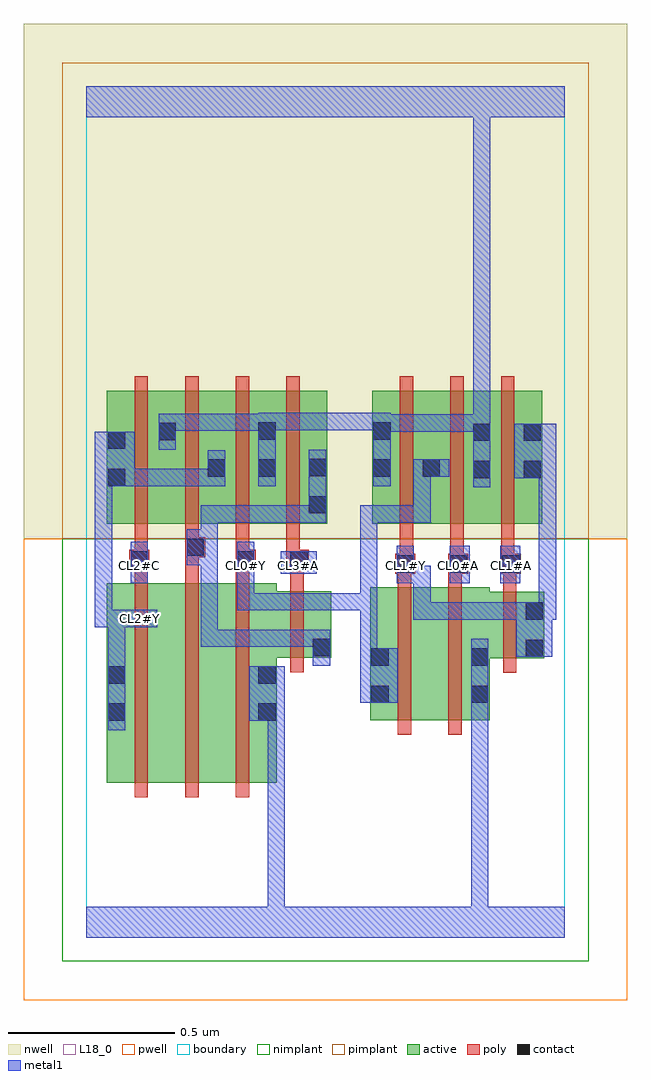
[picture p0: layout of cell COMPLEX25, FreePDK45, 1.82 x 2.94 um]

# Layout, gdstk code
import gdstk
lib = gdstk.Library(unit=1e-6, precision=1e-09)
def R(c, l, rs):  # rectangles x0, y0, x1, y1
    for r in rs: c.add(gdstk.rectangle(r[:2], r[2:], *l))
def A(c, l, x, y, w, h, nx, ny, dx, dy):  # array of equal rectangles
    R(c, l, [(x+i*dx, y+j*dy, x+i*dx+w, y+j*dy+h) for i in range(nx) for j in range(ny)])
active = (1, 0)
pwell = (2, 0)
nwell = (3, 0)
nimplant = (4, 0)
pimplant = (5, 0)
poly = (9, 0)
contact = (10, 0)
metal1 = (11, 0)
L18_0 = (18, 0)
boundary = (235, 0)

complex25 = lib.new_cell('COMPLEX25')
A(complex25, active, 0.362, 1.244, 0.06, 0.4, 3, 1, 0.152, 0)
A(complex25, active, 1.008, 1.244, 0.06, 0.4, 3, 1, 0.152, 0)
R(complex25, active, [(0.062,0.466,0.242,1.066), (0.242,0.466,0.394,1.066), (0.394,0.466,0.574,1.066), (0.514,0.466,0.574,0.842), (0.062,0.556,0.122,1.066), (0.854,0.654,1.034,1.054), (1.034,0.654,1.214,1.054), (1.154,0.654,1.214,1.04), (0.854,0.702,0.914,1.054), (1.154,0.84,1.378,1.04), (1.318,0.84,1.378,1.04), (0.514,0.842,0.738,1.042), (0.678,0.842,0.738,1.042), (0.062,1.244,0.122,1.644), (0.062,1.244,0.274,1.644), (0.214,1.244,0.274,1.644), (0.214,1.244,0.422,1.644), (0.362,1.244,0.574,1.644), (0.514,1.244,0.726,1.644), (0.86,1.244,0.92,1.644), (0.86,1.244,1.068,1.644), (1.008,1.244,1.22,1.644), (1.16,1.244,1.372,1.644)])
R(complex25, pwell, [(-0.188,-0.188,1.628,1.2)])
R(complex25, nwell, [(-0.188,1.2,1.628,2.748)])
R(complex25, nimplant, [(-0.072,-0.072,1.512,1.2)])
R(complex25, pimplant, [(-0.072,1.2,1.512,2.632)])
A(complex25, poly, 0.146, 0.422, 0.04, 0.688, 3, 1, 0.152, 0)
A(complex25, poly, 0.944, 1.114, 0.04, 0.126, 3, 1, 0.152, 0)
A(complex25, poly, 0.146, 1.2, 0.04, 0.488, 4, 1, 0.152, 0)
A(complex25, poly, 0.944, 1.2, 0.04, 0.488, 3, 1, 0.152, 0)
R(complex25, poly, [(0.938,0.61,0.978,1.098), (1.09,0.61,1.13,1.098), (1.254,0.796,1.294,1.084), (0.614,0.798,0.654,1.086), (1.254,1.044,1.294,1.134), (0.614,1.046,0.654,1.146), (0.938,1.058,0.978,1.134), (1.09,1.058,1.13,1.134), (0.146,1.07,0.186,1.146), (0.298,1.07,0.338,1.184), (0.45,1.07,0.49,1.146), (0.93,1.094,0.99,1.154), (1.09,1.094,1.13,1.134), (1.09,1.094,1.13,1.134), (1.09,1.094,1.15,1.154), (1.248,1.094,1.308,1.154), (1.254,1.094,1.294,1.134), (1.254,1.094,1.294,1.134), (0.13,1.106,0.19,1.166), (0.146,1.106,0.186,1.146), (0.146,1.106,0.186,1.146), (0.45,1.106,0.51,1.166), (0.602,1.106,0.67,1.166), (0.614,1.106,0.654,1.146), (0.614,1.106,0.654,1.146), (0.944,1.114,0.984,1.154), (0.944,1.114,0.984,1.154), (0.146,1.126,0.186,1.24), (0.45,1.126,0.49,1.166), (0.45,1.126,0.49,1.166), (0.45,1.126,0.49,1.24), (0.602,1.126,0.642,1.24), (0.298,1.144,0.338,1.184), (0.298,1.144,0.338,1.184), (0.298,1.144,0.358,1.204), (0.298,1.164,0.338,1.24)])
R(complex25, contact, [(0.066,0.652,0.118,0.704), (0.518,0.652,0.57,0.704), (0.858,0.706,0.91,0.758), (1.158,0.706,1.21,0.758), (0.066,0.764,0.118,0.816), (0.518,0.764,0.57,0.816), (0.858,0.818,0.91,0.87), (1.158,0.818,1.21,0.87), (1.322,0.844,1.374,0.896), (0.682,0.846,0.734,0.898), (1.322,0.956,1.374,1.008), (0.934,1.098,0.986,1.15), (1.094,1.098,1.146,1.15), (1.252,1.098,1.304,1.15), (0.134,1.11,0.186,1.162), (0.454,1.11,0.506,1.162), (0.614,1.11,0.666,1.162), (0.302,1.148,0.354,1.2), (0.67,1.276,0.722,1.328), (0.066,1.358,0.118,1.41), (1.164,1.382,1.216,1.434), (1.316,1.382,1.368,1.434), (0.366,1.386,0.418,1.438), (0.518,1.386,0.57,1.438), (0.864,1.386,0.916,1.438), (1.012,1.386,1.064,1.438), (0.67,1.388,0.722,1.44), (0.066,1.47,0.118,1.522), (1.164,1.494,1.216,1.546), (1.316,1.494,1.368,1.546), (0.218,1.496,0.27,1.548), (0.518,1.498,0.57,1.55), (0.864,1.498,0.916,1.55)])
R(complex25, metal1, [(0,0,1.44,0.092), (0.546,0.04,0.598,0.704), (1.158,0.04,1.21,0.092), (1.158,0.04,1.21,0.092), (1.158,0.04,1.21,0.092), (1.158,0.04,1.21,0.092), (1.158,0.04,1.21,0.092), (1.158,0.04,1.21,0.092), (1.158,0.04,1.21,0.092), (1.158,0.04,1.21,0.092), (1.158,0.04,1.21,0.092), (1.158,0.04,1.21,0.092), (1.158,0.04,1.21,0.73), (0.066,0.624,0.118,0.844), (0.49,0.652,0.598,0.816), (0.546,0.652,0.598,0.704), (0.546,0.652,0.598,0.704), (0.546,0.652,0.598,0.704), (0.546,0.652,0.598,0.704), (0.546,0.652,0.598,0.704), (0.546,0.652,0.598,0.704), (0.546,0.652,0.598,0.704), (0.546,0.652,0.598,0.704), (1.158,0.678,1.21,0.73), (1.158,0.678,1.21,0.73), (1.158,0.678,1.21,0.898), (0.824,0.706,0.938,0.87), (0.066,0.792,0.118,0.986), (0.682,0.818,0.734,0.926), (0.824,0.818,0.876,1.036), (1.294,0.844,1.402,1.008), (0.344,0.874,0.396,0.926), (0.344,0.874,0.396,0.926), (0.344,0.874,0.396,0.926), (0.344,0.874,0.528,0.926), (0.344,0.874,0.396,1.228), (0.476,0.874,0.528,0.926), (0.476,0.874,0.528,0.926), (0.476,0.874,0.528,0.926), (0.476,0.874,0.734,0.926), (0.682,0.874,0.734,0.926), (0.682,0.874,0.734,0.926), (0.026,0.934,0.078,0.986), (0.026,0.934,0.078,0.986), (0.026,0.934,0.078,1.41), (0.026,0.934,0.214,0.986), (0.984,0.956,1.146,1.008), (0.984,0.956,1.036,1.118), (1.094,0.956,1.146,1.008), (1.094,0.956,1.146,1.008), (1.094,0.956,1.146,1.008), (1.094,0.956,1.402,1.008), (1.35,0.956,1.402,1.008), (1.35,0.956,1.402,1.008), (1.35,0.956,1.402,1.008), (1.35,0.956,1.414,1.008), (1.362,0.956,1.414,1.434), (1.362,0.956,1.414,1.008), (1.362,0.956,1.414,1.008), (0.454,0.984,0.708,1.036), (0.454,0.984,0.506,1.118), (0.656,0.984,0.708,1.036), (0.656,0.984,0.708,1.036), (0.656,0.984,0.708,1.036), (0.656,0.984,0.876,1.036), (0.824,0.984,0.876,1.036), (0.824,0.984,0.876,1.3), (0.134,1.066,0.186,1.19), (0.454,1.066,0.506,1.118), (0.454,1.066,0.506,1.19), (0.934,1.066,1.036,1.118), (0.934,1.066,0.986,1.178), (1.094,1.066,1.154,1.178), (1.246,1.066,1.306,1.178), (0.586,1.094,0.694,1.162), (0.302,1.12,0.354,1.228), (0.302,1.176,0.396,1.228), (0.344,1.176,0.396,1.3), (0.344,1.248,0.528,1.3), (0.476,1.248,0.528,1.3), (0.476,1.248,0.528,1.3), (0.476,1.248,0.528,1.3), (0.476,1.248,0.528,1.3), (0.476,1.248,0.528,1.3), (0.476,1.248,0.722,1.3), (0.67,1.248,0.722,1.3), (0.67,1.248,0.722,1.3), (0.67,1.248,0.722,1.468), (0.824,1.248,0.876,1.3), (0.824,1.248,0.876,1.3), (0.824,1.248,0.876,1.3), (0.824,1.248,1.036,1.3), (0.984,1.248,1.036,1.3), (0.984,1.248,1.036,1.438), (1.164,1.354,1.216,1.574), (0.026,1.358,0.146,1.522), (0.094,1.358,0.146,1.41), (0.094,1.358,0.146,1.41), (0.094,1.358,0.286,1.41), (0.234,1.358,0.286,1.41), (0.234,1.358,0.286,1.41), (0.234,1.358,0.286,1.41), (0.234,1.358,0.418,1.41), (0.366,1.358,0.418,1.466), (0.518,1.358,0.57,1.578), (0.864,1.358,0.916,1.578), (1.288,1.382,1.414,1.546), (0.984,1.386,1.092,1.438), (0.218,1.468,0.27,1.576), (0.864,1.522,0.916,1.574), (0.864,1.522,0.916,1.574), (0.864,1.522,1.026,1.574), (0.974,1.522,1.026,1.574), (0.974,1.522,1.146,1.574), (1.094,1.522,1.146,1.574), (1.094,1.522,1.216,1.574), (1.164,1.522,1.216,1.574), (1.164,1.522,1.216,1.574), (1.164,1.522,1.216,1.574), (1.164,1.522,1.216,1.574), (1.164,1.522,1.216,1.574), (1.164,1.522,1.216,1.574), (1.164,1.522,1.216,2.52), (0.218,1.524,0.396,1.576), (0.344,1.524,0.396,1.576), (0.344,1.524,0.396,1.576), (0.344,1.524,0.396,1.576), (0.344,1.524,0.506,1.576), (0.454,1.524,0.506,1.576), (0.454,1.524,0.57,1.576), (0.518,1.526,0.68,1.578), (0.628,1.526,0.68,1.578), (0.628,1.526,0.68,1.578), (0.628,1.526,0.68,1.578), (0.628,1.526,0.916,1.578), (0,2.468,1.44,2.56), (1.164,2.468,1.216,2.52), (1.164,2.468,1.216,2.52), (1.164,2.468,1.216,2.52), (1.164,2.468,1.216,2.52), (1.164,2.468,1.216,2.52), (1.164,2.468,1.216,2.52), (1.164,2.468,1.216,2.52), (1.164,2.468,1.216,2.52), (1.164,2.468,1.216,2.52), (1.164,2.468,1.216,2.52)])
A(complex25, L18_0, 0.934, 1.094, 0.052, 0.052, 3, 1, 0.16, 0)
R(complex25, L18_0, [(0,0,1.44,0.092), (0.546,0.04,0.598,0.704), (1.158,0.04,1.21,0.092), (1.158,0.04,1.21,0.092), (1.158,0.04,1.21,0.092), (1.158,0.04,1.21,0.092), (1.158,0.04,1.21,0.092), (1.158,0.04,1.21,0.092), (1.158,0.04,1.21,0.092), (1.158,0.04,1.21,0.092), (1.158,0.04,1.21,0.092), (1.158,0.04,1.21,0.092), (1.158,0.04,1.21,0.73), (0.066,0.624,0.118,0.844), (0.49,0.652,0.598,0.816), (0.546,0.652,0.598,0.704), (0.546,0.652,0.598,0.704), (0.546,0.652,0.598,0.704), (0.546,0.652,0.598,0.704), (0.546,0.652,0.598,0.704), (0.546,0.652,0.598,0.704), (0.546,0.652,0.598,0.704), (0.546,0.652,0.598,0.704), (1.158,0.678,1.21,0.898), (1.158,0.678,1.21,0.73), (1.158,0.678,1.21,0.73), (0.824,0.706,0.938,0.87), (0.066,0.792,0.118,0.986), (0.824,0.818,0.876,1.036), (1.294,0.844,1.402,1.008), (0.026,0.934,0.214,0.986), (0.026,0.934,0.078,0.986), (0.026,0.934,0.078,0.986), (0.026,0.934,0.078,1.41), (0.134,0.934,0.186,0.986), (0.984,0.956,1.146,1.008), (0.984,0.956,1.036,1.118), (1.094,0.956,1.146,1.008), (1.094,0.956,1.146,1.008), (1.094,0.956,1.146,1.008), (1.094,0.956,1.402,1.008), (1.35,0.956,1.402,1.008), (1.35,0.956,1.402,1.008), (1.35,0.956,1.402,1.008), (1.35,0.956,1.414,1.008), (1.362,0.956,1.414,1.008), (1.362,0.956,1.414,1.008), (1.362,0.956,1.414,1.434), (0.454,0.984,0.506,1.118), (0.454,0.984,0.708,1.036), (0.656,0.984,0.708,1.036), (0.656,0.984,0.708,1.036), (0.656,0.984,0.708,1.036), (0.656,0.984,0.876,1.036), (0.824,0.984,0.876,1.036), (0.824,0.984,0.876,1.3), (0.134,1.066,0.186,1.19), (0.454,1.066,0.506,1.118), (0.454,1.066,0.506,1.19), (0.934,1.066,0.986,1.178), (0.934,1.066,1.036,1.118), (1.094,1.066,1.154,1.178), (1.246,1.066,1.306,1.178), (0.134,1.094,0.186,1.146), (0.454,1.094,0.506,1.146), (0.586,1.094,0.694,1.162), (0.614,1.094,0.666,1.146), (0.824,1.248,0.876,1.3), (0.824,1.248,0.876,1.3), (0.824,1.248,0.876,1.3), (0.824,1.248,1.036,1.3), (0.984,1.248,1.036,1.3), (0.984,1.248,1.036,1.438), (1.164,1.354,1.216,1.574), (0.026,1.358,0.146,1.522), (0.094,1.358,0.146,1.41), (0.094,1.358,0.146,1.41), (0.094,1.358,0.286,1.41), (0.234,1.358,0.286,1.41), (0.234,1.358,0.286,1.41), (0.234,1.358,0.286,1.41), (0.234,1.358,0.418,1.41), (0.366,1.358,0.418,1.466), (0.518,1.358,0.57,1.578), (0.864,1.358,0.916,1.578), (1.288,1.382,1.414,1.546), (0.984,1.386,1.092,1.438), (0.218,1.468,0.27,1.576), (0.864,1.522,0.916,1.574), (0.864,1.522,0.916,1.574), (0.864,1.522,1.026,1.574), (0.974,1.522,1.026,1.574), (0.974,1.522,1.146,1.574), (1.094,1.522,1.146,1.574), (1.094,1.522,1.216,1.574), (1.164,1.522,1.216,1.574), (1.164,1.522,1.216,1.574), (1.164,1.522,1.216,1.574), (1.164,1.522,1.216,1.574), (1.164,1.522,1.216,1.574), (1.164,1.522,1.216,1.574), (1.164,1.522,1.216,2.52), (0.218,1.524,0.396,1.576), (0.344,1.524,0.396,1.576), (0.344,1.524,0.396,1.576), (0.344,1.524,0.396,1.576), (0.344,1.524,0.506,1.576), (0.454,1.524,0.506,1.576), (0.454,1.524,0.57,1.576), (0.518,1.526,0.68,1.578), (0.628,1.526,0.68,1.578), (0.628,1.526,0.68,1.578), (0.628,1.526,0.68,1.578), (0.628,1.526,0.916,1.578), (0,2.468,1.44,2.56), (1.164,2.468,1.216,2.52), (1.164,2.468,1.216,2.52), (1.164,2.468,1.216,2.52), (1.164,2.468,1.216,2.52), (1.164,2.468,1.216,2.52), (1.164,2.468,1.216,2.52), (1.164,2.468,1.216,2.52), (1.164,2.468,1.216,2.52), (1.164,2.468,1.216,2.52), (1.164,2.468,1.216,2.52)])
R(complex25, boundary, [(0,0,1.44,2.56)])
complex25.add(gdstk.Label('CL0#A', (1.12,1.12), layer=11, texttype=0))
complex25.add(gdstk.Label('CL0#Y', (0.48,1.12), layer=11, texttype=0))
complex25.add(gdstk.Label('CL1#A', (1.28,1.12), layer=11, texttype=0))
complex25.add(gdstk.Label('CL1#Y', (0.96,1.12), layer=11, texttype=0))
complex25.add(gdstk.Label('CL2#C', (0.16,1.12), layer=11, texttype=0))
complex25.add(gdstk.Label('CL2#Y', (0.16,0.96), layer=11, texttype=0))
complex25.add(gdstk.Label('CL3#A', (0.64,1.12), layer=11, texttype=0))

lib.write_gds('COMPLEX25.gds')
